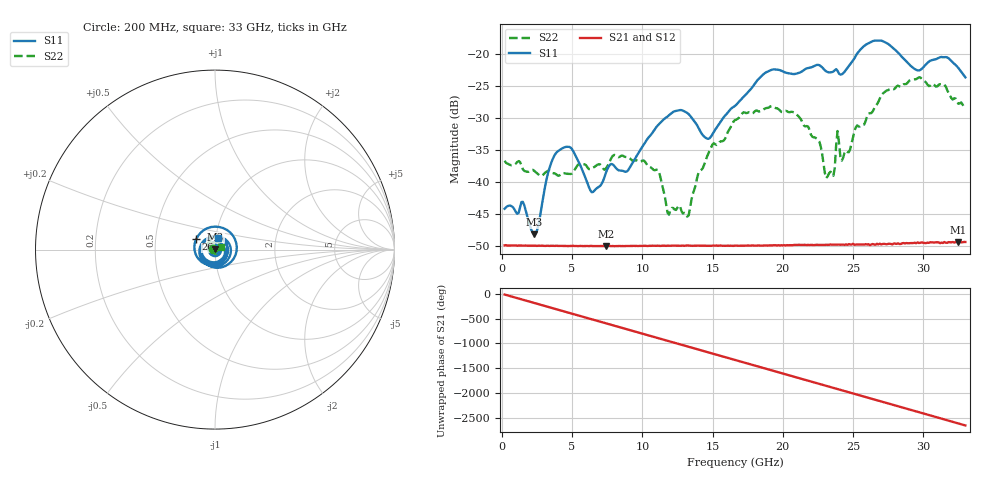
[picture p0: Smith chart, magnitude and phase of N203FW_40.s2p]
# GHZ S RI R 50
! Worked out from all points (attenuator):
!   329 points, 200 MHz to 33 GHz, reference 50 ohm
!   highest |S21| = -49.42 dB at 32.5 GHz (marker M1); lowest = -50.1 dB at 7.4 GHz (marker M2)
!   lowest |S11| = -48.2 dB at 2.3 GHz (marker M3), VSWR 1.01, Z = 50.2 + j0.357 ohm
!   |S11| at or under -10 dB: start of sweep to end of sweep
!   |S22| runs from -45.5 to -23.6 dB; largest |S21 - S12| = 8.8e-05
!   S11 on the Smith chart (normalised r, x): 200 MHz: 1.01, +0.00; 26 GHz: 0.80, +0.10; 33 GHz: 1.03, +0.13
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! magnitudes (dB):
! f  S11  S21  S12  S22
! 200 MHz  -44.2  -50.0  -49.9  -36.7
! 1.5 GHz  -43.1  -50.0  -50.0  -38.0
! 2.3 GHz  -48.2  -50.0  -50.0  -38.3
! 3.8 GHz  -35.7  -50.0  -50.0  -38.7
! 5.7 GHz  -38.0  -50.1  -50.0  -37.3
! 6.4 GHz  -41.6  -50.1  -50.1  -37.9
! 7.4 GHz  -38.7  -50.1  -50.0  -37.9
! 11.2 GHz  -30.9  -50.0  -50.0  -38.5
! 11.8 GHz  -29.8  -50.0  -50.0  -44.9
! 13.2 GHz  -29.2  -50.0  -50.0  -45.5
! 14.7 GHz  -33.3  -50.0  -50.0  -35.6
! 16.6 GHz  -28.1  -50.0  -50.0  -30.3
! 19.3 GHz  -22.4  -49.9  -49.9  -28.2
! 22.1 GHz  -22.0  -49.9  -49.9  -32.9
! 23.6 GHz  -22.7  -49.8  -49.8  -39.1
! 23.9 GHz  -22.6  -49.9  -49.9  -32.0
! 24.2 GHz  -23.1  -49.8  -49.8  -36.7
! 26 GHz  -18.4  -49.8  -49.8  -29.7
! 27.6 GHz  -18.5  -49.7  -49.7  -25.5
! 29.8 GHz  -22.5  -49.6  -49.6  -23.7
! 32.5 GHz  -22.2  -49.4  -49.4  -27.8
! 33 GHz  -23.6  -49.4  -49.5  -28.6
